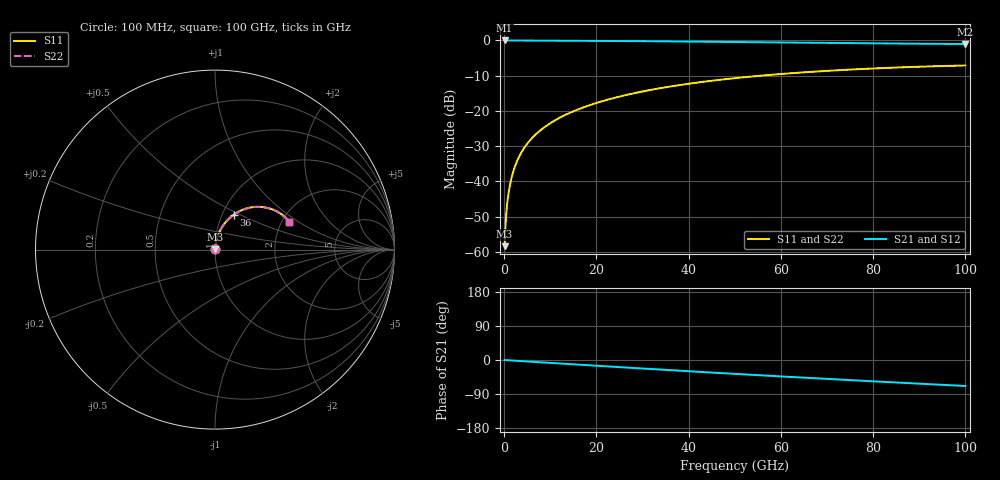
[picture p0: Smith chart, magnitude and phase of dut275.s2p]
! Touchstone file exported from HFSS 2026.1.0
!  File:  C:/ffzhzh/LocalFiles/Ansys_Project_Files/temp_train_RDL_275_1783501938_41296.aedt
!  Generated:  05:13:36 PM Jul  8, 2026
!  Design:  RDL
!  Project:  temp_train_RDL_275_1783501938_41296
! Variables:
!  h_bsmrdl = 2um
!  h_ox = 20um
!  h_rdl = 5um
!  h_sub = 80um
!  h_tmrdl = 4.17um
!  h_tsv = 80um
!  h_via = 3um
!  l_bsmrdl = 300um
!  l_sub = 603.87um
!  l_tmrdl = 203.87um
!  m_sub = 200um
!  pitch = 44.07um
!  r_tsv = 6um
!  s_tmrdl = 10um
!  w_bsmrdl = 18um
!  w_sub = 500um
!  w_tmrdl = 23.9um
!  x_tsv_center1 = 215.82um
!  x_tsv_center2 = 533.82um
!  x_tsv_center3 = 761.59um
!  x_tsv_center4 = 1079.59um
!  x_tsv_center5 = 1307.36um
!  x_tsv_center6 = 1625.36um
# GHz S MA R 50.000000
! Terminal data exported
! Port[1] = TM_RDL1_1_T1
! Port[2] = TM_RDL1_1_T2
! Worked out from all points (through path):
!   1000 points, 100 MHz to 100 GHz, reference 50 ohm
!   highest |S21| = -0.01 dB at 100 MHz (marker M1); lowest = -1.0 dB at 100 GHz (marker M2)
!   group delay of S21, straight-line fit = 1.9 ps
!   lowest |S11| = -58.3 dB at 100 MHz (marker M3), VSWR 1.00, Z = 50.1 + j0.0787 ohm
!   |S11| at or under -10 dB: start of sweep to 55.58 GHz
!   |S22| runs from -58.3 to -7.1 dB; largest |S21 - S12| = 2.7e-15
!   S11 on the Smith chart (normalised r, x): 100 MHz: 1.00, +0.00; 36 GHz: 1.13, +0.47; 100 GHz: 2.18, +0.85
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0.1  0.001211 40.5  0.9991 -0.1  0.9991 -0.1  0.001211 40.5
! Gamma 0 0 0 0
! Port Impedance 50 0 50 0
0.3  0.002469 64.8  0.999 -0.2  0.999 -0.2  0.002469 64.8
0.7  0.005122 76.4  0.9988 -0.6  0.9988 -0.6  0.005122 76.4
0.9  0.006478 78.7  0.9988 -0.7  0.9988 -0.7  0.006478 78.7
1.2  0.008529 80.8  0.9987 -0.9  0.9987 -0.9  0.008529 80.7
1.5  0.01059 81.9  0.9987 -1.2  0.9987 -1.2  0.01059 81.9
2  0.01403 82.8  0.9985 -1.6  0.9985 -1.6  0.01403 82.8
2.5  0.01746 83.2  0.9984 -2.0  0.9984 -2.0  0.01746 83.2
3.2  0.02224 83.3  0.9981 -2.5  0.9981 -2.5  0.02224 83.3
4  0.02765 83.1  0.9978 -3.1  0.9978 -3.1  0.02765 83.1
5  0.03436 82.6  0.9973 -3.9  0.9973 -3.9  0.03436 82.6
6.1  0.04165 82.0  0.9967 -4.7  0.9967 -4.7  0.04165 82.0
8.9  0.05995 80.3  0.9952 -6.8  0.9952 -6.8  0.05995 80.3
12.4  0.08243 78.0  0.9929 -9.5  0.9929 -9.5  0.08243 78.0
16.8  0.1101 75.0  0.9896 -12.8  0.9896 -12.8  0.1101 75.0
24.2  0.1552 69.9  0.9828 -18.3  0.9828 -18.3  0.1552 69.8
33.4  0.208 63.5  0.9722 -24.9  0.9722 -24.9  0.208 63.4
36  0.2221 61.7  0.9689 -26.8  0.9689 -26.8  0.2221 61.6
50.1  0.2922 52.1  0.9495 -36.7  0.9495 -36.7  0.2922 52.0
66.7  0.3592 41.2  0.9258 -47.8  0.9258 -47.8  0.3592 41.1
83.4  0.4091 30.7  0.9047 -58.4  0.9047 -58.4  0.4091 30.6
100  0.4417 20.7  0.8891 -68.6  0.8891 -68.6  0.4417 20.5
